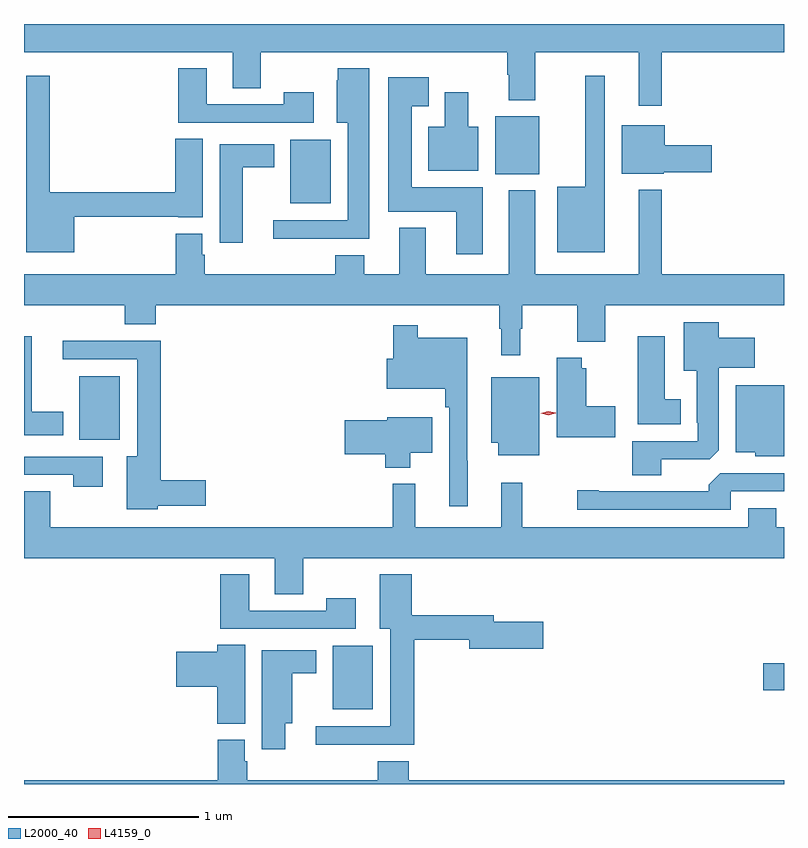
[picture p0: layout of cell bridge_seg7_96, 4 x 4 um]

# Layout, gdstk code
import gdstk
lib = gdstk.Library(unit=1e-6, precision=1e-09)
def R(c, l, rs):  # rectangles x0, y0, x1, y1
    for r in rs: c.add(gdstk.rectangle(r[:2], r[2:], *l))
def P(c, l, *ps):  # polygons
    for p in ps: c.add(gdstk.Polygon(p, *l))
L2000_40 = (2000, 40)
L4159_0 = (4159, 0)

bridge_seg7_96 = lib.new_cell('bridge_seg7_96')
R(bridge_seg7_96, L2000_40, [(1131.212,999.821,1131.424,1000.156), (1133.478,999.922,1133.588,1000.064), (1129.88,1001.24,1130.092,1001.575), (1130.99,1002.485,1131.202,1002.82), (1132.067,1002.638,1132.3,1002.943)])
P(bridge_seg7_96, L2000_40, [(1132.945,1003.28),(1133.588,1003.28),(1133.588,1003.428),(1129.588,1003.428),(1129.588,1003.28),(1130.687,1003.28),(1130.687,1003.09),(1130.835,1003.09),(1130.835,1003.28),(1132.132,1003.28),(1132.132,1003.16),(1132.139,1003.16),(1132.139,1003.028),(1132.279,1003.028),(1132.279,1003.28),(1132.823,1003.28),(1132.823,1002.999),(1132.945,1002.999)],
  [(1131.112,1003.069),(1130.956,1003.069),(1130.956,1003.005),(1130.551,1003.005),(1130.551,1003.195),(1130.399,1003.195),(1130.399,1002.909),(1131.112,1002.909)],
  [(1131.406,1003.195),(1131.239,1003.195),(1131.239,1003.131),(1131.233,1003.131),(1131.233,1002.908),(1131.293,1002.908),(1131.293,1002.396),(1130.901,1002.396),(1130.901,1002.299),(1131.406,1002.299)],
  [(1132.645,1003.156),(1132.541,1003.156),(1132.541,1002.571),(1132.394,1002.571),(1132.394,1002.227),(1132.645,1002.227)],
  [(1129.852,1002.414),(1130.4,1002.414),(1130.4,1002.41),(1130.53,1002.41),(1130.53,1002.824),(1130.384,1002.824),(1130.384,1002.542),(1129.723,1002.542),(1129.723,1003.156),(1129.601,1003.156),(1129.601,1002.227),(1129.852,1002.227)],
  [(1132.003,1002.568),(1131.628,1002.568),(1131.628,1002.995),(1131.718,1002.995),(1131.718,1003.147),(1131.506,1003.147),(1131.506,1002.44),(1131.863,1002.44),(1131.863,1002.216),(1132.003,1002.216)],
  [(1131.979,1002.886),(1131.925,1002.886),(1131.925,1003.069),(1131.803,1003.069),(1131.803,1002.886),(1131.716,1002.886),(1131.716,1002.656),(1131.979,1002.656)],
  [(1132.956,1002.647),(1133.209,1002.647),(1133.209,1002.789),(1132.96,1002.789),(1132.96,1002.895),(1132.733,1002.895),(1132.733,1002.641),(1132.956,1002.641)],
  [(1130.74,1002.674),(1130.905,1002.674),(1130.905,1002.796),(1130.618,1002.796),(1130.618,1002.276),(1130.74,1002.276)],
  [(1132.199,1001.825),(1132.21,1001.825),(1132.21,1001.948),(1132.501,1001.948),(1132.501,1001.756),(1132.648,1001.756),(1132.648,1001.948),(1133.588,1001.948),(1133.588,1002.112),(1132.945,1002.112),(1132.945,1002.556),(1132.823,1002.556),(1132.823,1002.112),(1132.279,1002.112),(1132.279,1002.553),(1132.139,1002.553),(1132.139,1002.112),(1131.703,1002.112),(1131.703,1002.355),(1131.563,1002.355),(1131.563,1002.112),(1131.379,1002.112),(1131.379,1002.211),(1131.227,1002.211),(1131.227,1002.112),(1130.54,1002.112),(1130.54,1002.213),(1130.527,1002.213),(1130.527,1002.325),(1130.387,1002.325),(1130.387,1002.112),(1129.588,1002.112),(1129.588,1001.948),(1130.117,1001.948),(1130.117,1001.849),(1130.282,1001.849),(1130.282,1001.948),(1132.089,1001.948),(1132.089,1001.825),(1132.1,1001.825),(1132.1,1001.685),(1132.199,1001.685)],
  [(1132.942,1001.136),(1133.196,1001.136),(1133.245,1001.185),(1133.245,1001.618),(1133.434,1001.618),(1133.434,1001.776),(1133.245,1001.776),(1133.245,1001.857),(1133.06,1001.857),(1133.06,1001.603),(1133.129,1001.603),(1133.129,1001.329),(1133.133,1001.329),(1133.133,1001.232),(1132.79,1001.232),(1132.79,1001.053),(1132.942,1001.053)],
  [(1131.923,1001.129),(1131.921,1001.129),(1131.921,1001.776),(1131.661,1001.776),(1131.661,1001.842),(1131.532,1001.842),(1131.532,1001.665),(1131.498,1001.665),(1131.498,1001.507),(1131.805,1001.507),(1131.805,1001.411),(1131.825,1001.411),(1131.825,1000.89),(1131.923,1000.89)],
  [(1129.795,1001.386),(1129.63,1001.386),(1129.63,1001.785),(1129.588,1001.785),(1129.588,1001.264),(1129.795,1001.264)],
  [(1133.044,1001.452),(1132.96,1001.452),(1132.96,1001.785),(1132.817,1001.785),(1132.817,1001.321),(1133.044,1001.321)],
  [(1130.292,1000.892),(1130.545,1000.892),(1130.545,1001.027),(1130.309,1001.027),(1130.309,1001.762),(1129.791,1001.762),(1129.791,1001.664),(1130.183,1001.664),(1130.183,1001.152),(1130.129,1001.152),(1130.129,1000.874),(1130.292,1000.874)],
  [(1132.699,1001.415),(1132.546,1001.415),(1132.546,1001.617),(1132.524,1001.617),(1132.524,1001.671),(1132.391,1001.671),(1132.391,1001.252),(1132.699,1001.252)],
  [(1132.3,1001.569),(1132.046,1001.569),(1132.046,1001.225),(1132.085,1001.225),(1132.085,1001.159),(1132.3,1001.159)],
  [(1133.588,1001.527),(1133.333,1001.527),(1133.333,1001.174),(1133.436,1001.174),(1133.436,1001.153),(1133.588,1001.153)],
  [(1131.622,1001.171),(1131.736,1001.171),(1131.736,1001.359),(1131.5,1001.359),(1131.5,1001.342),(1131.276,1001.342),(1131.276,1001.164),(1131.488,1001.164),(1131.488,1001.093),(1131.622,1001.093)],
  [(1130.002,1001.151),(1129.588,1001.151),(1129.588,1001.055),(1129.846,1001.055),(1129.846,1000.992),(1130.002,1000.992)],
  [(1133.307,1000.968),(1133.588,1000.968),(1133.588,1001.064),(1133.253,1001.064),(1133.192,1001.002),(1133.192,1000.968),(1132.612,1000.968),(1132.612,1000.973),(1132.5,1000.973),(1132.5,1000.872),(1133.307,1000.872)],
  [(1131.057,1000.616),(1133.588,1000.616),(1133.588,1000.78),(1133.547,1000.78),(1133.547,1000.879),(1133.399,1000.879),(1133.399,1000.78),(1132.21,1000.78),(1132.21,1001.014),(1132.1,1001.014),(1132.1,1000.78),(1131.647,1000.78),(1131.647,1001.008),(1131.529,1001.008),(1131.529,1000.78),(1129.725,1000.78),(1129.725,1000.97),(1129.588,1000.97),(1129.588,1000.616),(1130.909,1000.616),(1130.909,1000.426),(1131.057,1000.426)],
  [(1131.641,1000.186),(1131.932,1000.186),(1131.932,1000.139),(1132.321,1000.139),(1132.321,1000.281),(1132.06,1000.281),(1132.06,1000.315),(1131.628,1000.315),(1131.628,1000.531),(1131.461,1000.531),(1131.461,1000.244),(1131.515,1000.244),(1131.515,999.732),(1131.123,999.732),(1131.123,999.635),(1131.641,999.635)],
  [(1131.334,1000.405),(1131.178,1000.405),(1131.178,1000.341),(1130.773,1000.341),(1130.773,1000.531),(1130.621,1000.531),(1130.621,1000.245),(1131.334,1000.245)],
  [(1130.752,1000.16),(1130.606,1000.16),(1130.606,1000.124),(1130.388,1000.124),(1130.388,999.941),(1130.606,999.941),(1130.606,999.745),(1130.752,999.745)],
  [(1130.962,999.749),(1131.001,999.749),(1131.001,1000.01),(1131.127,1000.01),(1131.127,1000.132),(1130.84,1000.132),(1130.84,999.612),(1130.962,999.612)],
  [(1133.588,999.448),(1131.614,999.448),(1131.614,999.547),(1131.449,999.547),(1131.449,999.448),(1130.762,999.448),(1130.762,999.549),(1130.749,999.549),(1130.749,999.66),(1130.609,999.66),(1130.609,999.448),(1129.588,999.448),(1129.588,999.428),(1133.588,999.428)])
P(bridge_seg7_96, L4159_0, [(1132.347,1001.37),(1132.308,1001.38),(1132.308,1001.38),(1132.308,1001.38),(1132.347,1001.39),(1132.386,1001.381),(1132.386,1001.38),(1132.386,1001.38)])

lib.write_gds('bridge_seg7_96.gds')
